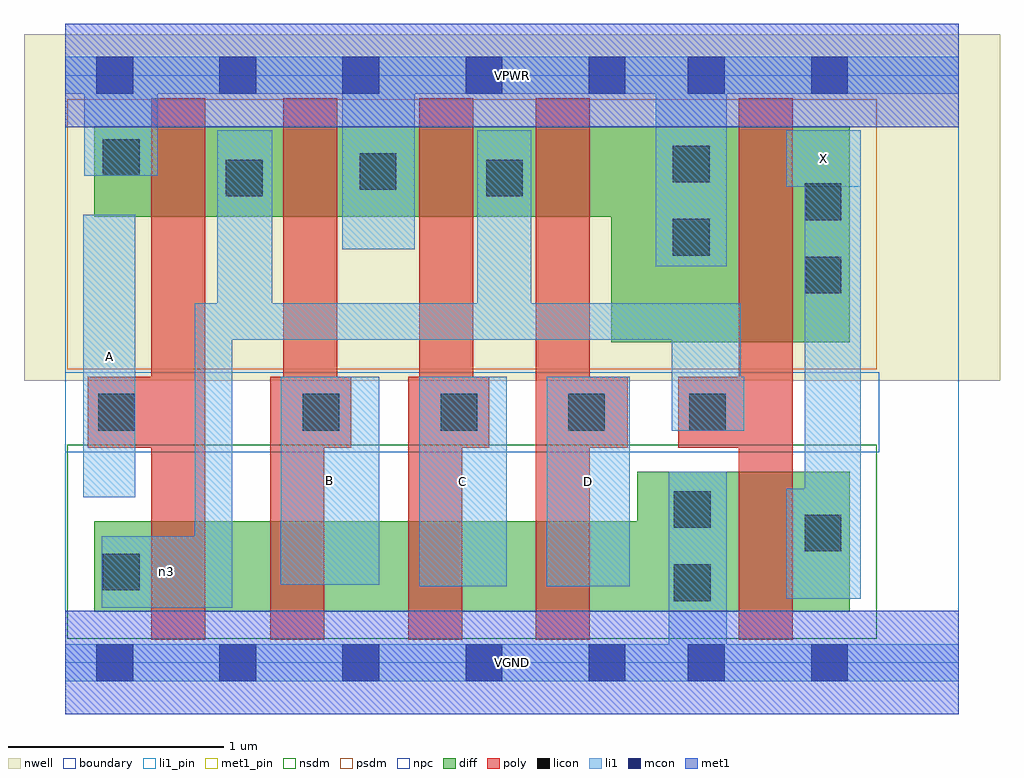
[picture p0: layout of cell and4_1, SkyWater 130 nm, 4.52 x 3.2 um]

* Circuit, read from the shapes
.subckt and4_1 A B C D VGND VPWR X n3
XM1 n1 A n3 VSUBS sky130_fd_pr__nfet_01v8 w=0.42 l=0.25
XM2 n2 B n1 VSUBS sky130_fd_pr__nfet_01v8 w=0.42 l=0.25
XM3 n4 C n2 VSUBS sky130_fd_pr__nfet_01v8 w=0.42 l=0.25
XM4 VGND D n4 VSUBS sky130_fd_pr__nfet_01v8 w=0.42 l=0.25
XM5 X n3 VGND VSUBS sky130_fd_pr__nfet_01v8 w=0.65 l=0.25
XM6 n3 A VPWR n5 sky130_fd_pr__pfet_01v8 w=0.42 l=0.25
XM7 VPWR B n3 n5 sky130_fd_pr__pfet_01v8 w=0.42 l=0.25
XM8 n3 C VPWR n5 sky130_fd_pr__pfet_01v8 w=0.42 l=0.25
XM9 VPWR D n3 n5 sky130_fd_pr__pfet_01v8 w=0.42 l=0.25
XM10 X n3 VPWR n5 sky130_fd_pr__pfet_01v8 w=1 l=0.25
.ends

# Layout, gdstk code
import gdstk
lib = gdstk.Library(unit=1e-6, precision=1e-09)
def R(c, l, rs):  # rectangles x0, y0, x1, y1
    for r in rs: c.add(gdstk.rectangle(r[:2], r[2:], *l))
def A(c, l, x, y, w, h, nx, ny, dx, dy):  # array of equal rectangles
    R(c, l, [(x+i*dx, y+j*dy, x+i*dx+w, y+j*dy+h) for i in range(nx) for j in range(ny)])
nwell = (64, 20)
diff = (65, 20)
poly = (66, 20)
licon = (66, 44)
li1_pin = (67, 16)
li1 = (67, 20)
mcon = (67, 44)
met1_pin = (68, 16)
met1 = (68, 20)
nsdm = (93, 44)
psdm = (94, 20)
npc = (95, 20)
boundary = (235, 4)

and4_1 = lib.new_cell('and4_1')
R(and4_1, nwell, [(-0.19,1.305,4.33,2.91), (0,1.305,4.14,2.91)])
R(and4_1, diff, [(0.135,0.235,3.635,0.655), (2.65,0.235,3.635,0.885), (2.53,1.485,3.635,2.485), (0.135,2.065,3.635,2.485)])
R(and4_1, poly, [(0.4,0.105,0.65,2.615), (0.95,0.105,1.2,1.325), (1.59,0.105,1.84,1.325), (2.18,0.105,2.43,2.615), (3.12,0.105,3.37,2.615), (0.105,0.995,0.65,1.325), (0.95,0.995,1.325,1.325), (1.01,0.995,1.26,2.615), (1.59,0.995,1.965,1.325), (1.64,0.995,1.89,2.615), (2.18,0.995,2.605,1.325), (2.84,0.995,3.37,1.325)])
R(and4_1, licon, [(2.82,0.285,2.99,0.455), (0.175,0.335,0.345,0.505), (3.425,0.515,3.595,0.685), (2.82,0.625,2.99,0.795), (0.155,1.075,0.325,1.245), (1.1,1.075,1.27,1.245), (1.74,1.075,1.91,1.245), (2.33,1.075,2.5,1.245), (2.89,1.075,3.06,1.245), (3.425,1.71,3.595,1.88), (2.815,1.885,2.985,2.055), (3.425,2.05,3.595,2.22), (0.745,2.16,0.915,2.33), (1.95,2.16,2.12,2.33), (1.365,2.19,1.535,2.36), (2.815,2.225,2.985,2.395), (0.175,2.255,0.345,2.425)])
R(and4_1, li1_pin, [(1.64,0.355,2.045,1.325), (2.23,0.355,2.615,1.325), (1,0.36,1.455,1.325), (0.085,0.765,0.325,2.075), (3.34,2.205,3.685,2.465)])
R(and4_1, li1, [(0,-0.085,4.14,0.085), (2.795,-0.085,3.065,0.885), (0.17,0.255,0.775,0.585), (0.6,0.255,0.775,1.665), (3.34,0.295,3.685,0.805), (3.425,0.295,3.685,2.465), (1.64,0.355,2.045,1.325), (2.23,0.355,2.615,1.325), (1,0.36,1.455,1.325), (0.085,0.765,0.325,2.075), (2.81,1.075,3.13,1.665), (2.81,1.075,3.145,1.325), (0.6,1.495,3.13,1.665), (0.705,1.495,0.96,2.465), (1.91,1.495,2.16,2.465), (2.735,1.835,3.065,2.805), (1.285,1.915,1.62,2.805), (3.34,2.205,3.685,2.465), (0.09,2.255,0.43,2.805), (0,2.635,4.14,2.805)])
A(and4_1, mcon, 0.145, -0.085, 0.17, 0.17, 5, 2, 0.57, 2.72)
R(and4_1, mcon, [(2.885,-0.085,3.055,0.085), (3.455,-0.085,3.625,0.085), (2.885,2.635,3.055,2.805), (3.455,2.635,3.625,2.805)])
R(and4_1, met1_pin, [(0,-0.24,4.14,0.24), (0,2.48,4.14,2.96)])
R(and4_1, met1, [(0,-0.24,4.14,0.24), (0,2.48,4.14,2.96)])
R(and4_1, nsdm, [(0.01,0.11,3.76,1.01)])
R(and4_1, psdm, [(0.01,1.36,3.76,2.61)])
R(and4_1, npc, [(0,0.975,3.77,1.345)])
R(and4_1, boundary, [(0,0,4.14,2.72)])
and4_1.add(gdstk.Label('A', (0.205,1.42), layer=67, texttype=5))
and4_1.add(gdstk.Label('B', (1.227,0.842), layer=67, texttype=5))
and4_1.add(gdstk.Label('C', (1.842,0.84), layer=67, texttype=5))
and4_1.add(gdstk.Label('D', (2.422,0.84), layer=67, texttype=5))
and4_1.add(gdstk.Label('X', (3.512,2.335), layer=67, texttype=5))
and4_1.add(gdstk.Label('n3', (0.472,0.42), layer=67, texttype=5))
and4_1.add(gdstk.Label('VPWR', (2.07,2.72), layer=68, texttype=5))
and4_1.add(gdstk.Label('VGND', (2.07,0), layer=68, texttype=5))
and4_1.add(gdstk.Label('A', (0.205,1.42), layer=67, texttype=16))
and4_1.add(gdstk.Label('B', (1.227,0.842), layer=67, texttype=16))
and4_1.add(gdstk.Label('C', (1.842,0.84), layer=67, texttype=16))
and4_1.add(gdstk.Label('D', (2.422,0.84), layer=67, texttype=16))
and4_1.add(gdstk.Label('X', (3.512,2.335), layer=67, texttype=16))
and4_1.add(gdstk.Label('VPWR', (2.07,2.72), layer=68, texttype=16))
and4_1.add(gdstk.Label('VGND', (2.07,0), layer=68, texttype=16))

lib.write_gds('and4_1.gds')
